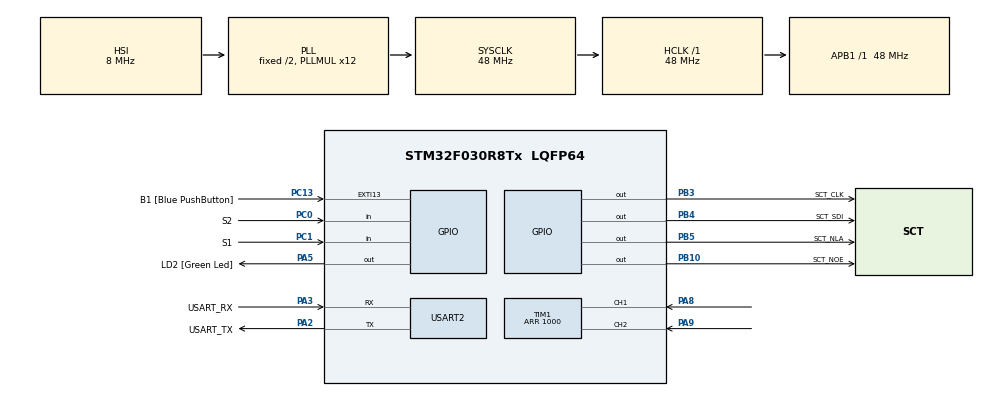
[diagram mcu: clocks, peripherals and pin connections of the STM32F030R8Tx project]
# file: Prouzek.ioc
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Mcu.Family=STM32F0
Mcu.Name=STM32F030R8Tx
Mcu.Package=LQFP64
PA13.GPIO_Label=TMS
PA13.Mode=Serial_Wire
PA13.Signal=SYS_SWDIO
PA14.GPIO_Label=TCK
PA14.Mode=Serial_Wire
PA14.Signal=SYS_SWCLK
PA2.GPIO_Label=USART_TX
PA2.GPIO_Mode=GPIO_MODE_AF_PP
PA2.GPIO_PuPd=GPIO_NOPULL
PA2.GPIO_Speed=GPIO_SPEED_FREQ_LOW
PA2.Mode=Asynchronous
PA2.Signal=USART2_TX
PA3.GPIO_Label=USART_RX
PA3.GPIO_Mode=GPIO_MODE_AF_PP
PA3.GPIO_PuPd=GPIO_NOPULL
PA3.GPIO_Speed=GPIO_SPEED_FREQ_LOW
PA3.Mode=Asynchronous
PA3.Signal=USART2_RX
PA5.GPIO_Label=LD2 [Green Led]
PA5.GPIO_Mode=GPIO_MODE_OUTPUT_PP
PA5.GPIO_PuPd=GPIO_NOPULL
PA5.GPIO_Speed=GPIO_SPEED_FREQ_LOW
PA5.Signal=GPIO_Output
PA8.Signal=S_TIM1_CH1
PA9.Signal=S_TIM1_CH2
PB10.GPIO_Label=SCT_NOE
PB10.Signal=GPIO_Output
PB3.GPIO_Label=SCT_CLK
PB3.Signal=GPIO_Output
PB4.GPIO_Label=SCT_SDI
PB4.Signal=GPIO_Output
PB5.GPIO_Label=SCT_NLA
PB5.Signal=GPIO_Output
PC0.GPIO_Label=S2
PC0.GPIO_PuPd=GPIO_PULLUP
PC0.Signal=GPIO_Input
PC1.GPIO_Label=S1
PC1.GPIO_PuPd=GPIO_PULLUP
PC1.Signal=GPIO_Input
PC13.GPIO_Label=B1 [Blue PushButton]
PC13.GPIO_ModeDefaultEXTI=GPIO_MODE_IT_FALLING
PC13.Signal=GPXTI13
PC14-OSC32_IN.Mode=LSE-External-Oscillator
PC14-OSC32_IN.Signal=RCC_OSC32_IN
PC15-OSC32_OUT.Mode=LSE-External-Oscillator
PC15-OSC32_OUT.Signal=RCC_OSC32_OUT
PF0-OSC_IN.Mode=HSE-External-Clock-Source
PF0-OSC_IN.Signal=RCC_OSC_IN
PF1-OSC_OUT.Signal=RCC_OSC_OUT
ProjectManager.HeapSize=0x200
ProjectManager.StackSize=0x400
ProjectManager.TargetToolchain=STM32CubeIDE
RCC.AHBFreq_Value=48000000
RCC.APB1Freq_Value=48000000
RCC.APB1TimFreq_Value=48000000
RCC.HCLKFreq_Value=48000000
RCC.PLLMUL=RCC_PLL_MUL12
RCC.SYSCLKFreq_VALUE=48000000
RCC.SYSCLKSource=RCC_SYSCLKSOURCE_PLLCLK
SH.S_TIM1_CH1.0=TIM1_CH1,Encoder_Interface
SH.S_TIM1_CH2.0=TIM1_CH2,Encoder_Interface
TIM1.IC1Polarity=TIM_ICPOLARITY_FALLING
TIM1.Period=1000
USART2.VirtualMode-Asynchronous=VM_ASYNC
board=NUCLEO-F030R8

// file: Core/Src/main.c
/* USER CODE BEGIN Header */
/**
 ******************************************************************************
 * @file           : main.c
 * @brief          : Main program body
 ******************************************************************************
 * @attention
 *
 * Copyright (c) 2024 STMicroelectronics.
 * All rights reserved.
 *
 * This software is licensed under terms that can be found in the LICENSE file
 * in the root directory of this software component.
 * If no LICENSE file comes with this software, it is provided AS-IS.
 *
 ******************************************************************************
 */
/* USER CODE END Header */
#include "main.h"

/* USER CODE BEGIN Includes */
#include "sct.h"
/* USER CODE END Includes */

TIM_HandleTypeDef htim1;

UART_HandleTypeDef huart2;

void SystemClock_Config(void);
static void MX_GPIO_Init(void);
static void MX_USART2_UART_Init(void);
static void MX_TIM1_Init(void);

int main(void) {

	/* MCU Configuration--------------------------------------------------------*/

	/* Reset of all peripherals, Initializes the Flash interface and the Systick. */
	HAL_Init();

	/* Configure the system clock */
	SystemClock_Config();

	/* Initialize all configured peripherals */
	MX_GPIO_Init();
	MX_USART2_UART_Init();
	MX_TIM1_Init();
	/* USER CODE BEGIN 2 */

	//řádek pro zadefinování ENCODERU
	HAL_TIM_Encoder_Start(&htim1, htim1.Channel);

	sct_init();				//aktivace dispoleje
	//další proměnné
	uint32_t delay = 1000;		//zadefinovaný počáteční delay

	/* USER CODE END 2 */

	/* Infinite loop */
	/* USER CODE BEGIN WHILE */
	while (1) {

		//sct_value(10); //když něco napíšu sem tak se mi to zobrazí na displeji

		if (HAL_GPIO_ReadPin(S1_GPIO_Port, S1_Pin) == 0) {//START po stisknutí tlačítka S1
			for (int i = 0; i < 9;) {//cyklus pro cyklovaní přes počet segmentu
				sct_value(i);
				delay = __HAL_TIM_GET_COUNTER(&htim1);//hodnota delay definovana polohou encoderu
				if (delay < 200) {			//oříznutí minimalní hodnoty delay
					delay = 200;
				} else if (delay > 800) {	//oříznutí maximální hodnoty delay
					delay = 800;
				}
				HAL_Delay(delay);

				if (HAL_GPIO_ReadPin(S2_GPIO_Port, S2_Pin) == 0) {//STOP po stisknutí tlačítka S2
					HAL_Delay(200);
					while (HAL_GPIO_ReadPin(S2_GPIO_Port, S2_Pin) == 1);	//druhým stisknutím ho vyresetuju na nultou pozici "i"
					i=0;
					sct_value(i);
					HAL_Delay(200);
					while (HAL_GPIO_ReadPin(S2_GPIO_Port, S2_Pin) == 1);	//čeká dokud nestiknu tlačítko S2
					continue;

				}
				i++;										//inkrementace "i"
				if (i == 9) {				//podmínka pro reset celého cyklu
					i = 0;
				}
			}
		}
		sct_value(0);
		/* USER CODE END WHILE */

	}
}

void SystemClock_Config(void) {
	RCC_OscInitTypeDef RCC_OscInitStruct = { 0 };
	RCC_ClkInitTypeDef RCC_ClkInitStruct = { 0 };

	/** Initializes the RCC Oscillators according to the specified parameters
	 * in the RCC_OscInitTypeDef structure.
	 */
	RCC_OscInitStruct.OscillatorType = RCC_OSCILLATORTYPE_HSI;
	RCC_OscInitStruct.HSIState = RCC_HSI_ON;
	RCC_OscInitStruct.HSICalibrationValue = RCC_HSICALIBRATION_DEFAULT;
	RCC_OscInitStruct.PLL.PLLState = RCC_PLL_ON;
	RCC_OscInitStruct.PLL.PLLSource = RCC_PLLSOURCE_HSI;
	RCC_OscInitStruct.PLL.PLLMUL = RCC_PLL_MUL12;
	RCC_OscInitStruct.PLL.PREDIV = RCC_PREDIV_DIV1;
	if (HAL_RCC_OscConfig(&RCC_OscInitStruct) != HAL_OK) {
		Error_Handler();
	}

	/** Initializes the CPU, AHB and APB buses clocks
	 */
	RCC_ClkInitStruct.ClockType = RCC_CLOCKTYPE_HCLK | RCC_CLOCKTYPE_SYSCLK
			| RCC_CLOCKTYPE_PCLK1;
	RCC_ClkInitStruct.SYSCLKSource = RCC_SYSCLKSOURCE_PLLCLK;
	RCC_ClkInitStruct.AHBCLKDivider = RCC_SYSCLK_DIV1;
	RCC_ClkInitStruct.APB1CLKDivider = RCC_HCLK_DIV1;

	if (HAL_RCC_ClockConfig(&RCC_ClkInitStruct, FLASH_LATENCY_1) != HAL_OK) {
		Error_Handler();
	}
}

static void MX_TIM1_Init(void) {

	TIM_Encoder_InitTypeDef sConfig = { 0 };
	TIM_MasterConfigTypeDef sMasterConfig = { 0 };

	htim1.Instance = TIM1;
	htim1.Init.Prescaler = 0;
	htim1.Init.CounterMode = TIM_COUNTERMODE_UP;
	htim1.Init.Period = 1000;
	htim1.Init.ClockDivision = TIM_CLOCKDIVISION_DIV1;
	htim1.Init.RepetitionCounter = 0;
	htim1.Init.AutoReloadPreload = TIM_AUTORELOAD_PRELOAD_DISABLE;
	sConfig.EncoderMode = TIM_ENCODERMODE_TI1;
	sConfig.IC1Polarity = TIM_ICPOLARITY_FALLING;
	sConfig.IC1Selection = TIM_ICSELECTION_DIRECTTI;
	sConfig.IC1Prescaler = TIM_ICPSC_DIV1;
	sConfig.IC1Filter = 0;
	sConfig.IC2Polarity = TIM_ICPOLARITY_RISING;
	sConfig.IC2Selection = TIM_ICSELECTION_DIRECTTI;
	sConfig.IC2Prescaler = TIM_ICPSC_DIV1;
	sConfig.IC2Filter = 0;
	if (HAL_TIM_Encoder_Init(&htim1, &sConfig) != HAL_OK) {
		Error_Handler();
	}
	sMasterConfig.MasterOutputTrigger = TIM_TRGO_RESET;
	sMasterConfig.MasterSlaveMode = TIM_MASTERSLAVEMODE_DISABLE;
	if (HAL_TIMEx_MasterConfigSynchronization(&htim1, &sMasterConfig)
			!= HAL_OK) {
		Error_Handler();
	}

}

static void MX_USART2_UART_Init(void) {

	huart2.Instance = USART2;
	huart2.Init.BaudRate = 38400;
	huart2.Init.WordLength = UART_WORDLENGTH_8B;
	huart2.Init.StopBits = UART_STOPBITS_1;
	huart2.Init.Parity = UART_PARITY_NONE;
	huart2.Init.Mode = UART_MODE_TX_RX;
	huart2.Init.HwFlowCtl = UART_HWCONTROL_NONE;
	huart2.Init.OverSampling = UART_OVERSAMPLING_16;
	huart2.Init.OneBitSampling = UART_ONE_BIT_SAMPLE_DISABLE;
	huart2.AdvancedInit.AdvFeatureInit = UART_ADVFEATURE_NO_INIT;
	if (HAL_UART_Init(&huart2) != HAL_OK) {
		Error_Handler();
	}

}

static void MX_GPIO_Init(void) {
	GPIO_InitTypeDef GPIO_InitStruct = { 0 };

	/* GPIO Ports Clock Enable */
	__HAL_RCC_GPIOC_CLK_ENABLE();
	__HAL_RCC_GPIOF_CLK_ENABLE();
	__HAL_RCC_GPIOA_CLK_ENABLE();
	__HAL_RCC_GPIOB_CLK_ENABLE();

	/*Configure GPIO pin Output Level */
	HAL_GPIO_WritePin(LD2_GPIO_Port, LD2_Pin, GPIO_PIN_RESET);

	/*Configure GPIO pin Output Level */
	HAL_GPIO_WritePin(GPIOB,
			SCT_NOE_Pin | SCT_CLK_Pin | SCT_SDI_Pin | SCT_NLA_Pin,
			GPIO_PIN_RESET);

	/*Configure GPIO pin : B1_Pin */
	GPIO_InitStruct.Pin = B1_Pin;
	GPIO_InitStruct.Mode = GPIO_MODE_IT_FALLING;
	GPIO_InitStruct.Pull = GPIO_NOPULL;
	HAL_GPIO_Init(B1_GPIO_Port, &GPIO_InitStruct);

	/*Configure GPIO pins : S2_Pin S1_Pin */
	GPIO_InitStruct.Pin = S2_Pin | S1_Pin;
	GPIO_InitStruct.Mode = GPIO_MODE_INPUT;
	GPIO_InitStruct.Pull = GPIO_PULLUP;
	HAL_GPIO_Init(GPIOC, &GPIO_InitStruct);

	/*Configure GPIO pin : LD2_Pin */
	GPIO_InitStruct.Pin = LD2_Pin;
	GPIO_InitStruct.Mode = GPIO_MODE_OUTPUT_PP;
	GPIO_InitStruct.Pull = GPIO_NOPULL;
	GPIO_InitStruct.Speed = GPIO_SPEED_FREQ_LOW;
	HAL_GPIO_Init(LD2_GPIO_Port, &GPIO_InitStruct);

	/*Configure GPIO pins : SCT_NOE_Pin SCT_CLK_Pin SCT_SDI_Pin SCT_NLA_Pin */
	GPIO_InitStruct.Pin = SCT_NOE_Pin | SCT_CLK_Pin | SCT_SDI_Pin | SCT_NLA_Pin;
	GPIO_InitStruct.Mode = GPIO_MODE_OUTPUT_PP;
	GPIO_InitStruct.Pull = GPIO_NOPULL;
	GPIO_InitStruct.Speed = GPIO_SPEED_FREQ_LOW;
	HAL_GPIO_Init(GPIOB, &GPIO_InitStruct);

}

void Error_Handler(void) {
	__disable_irq();
	while (1) {
	}
}
